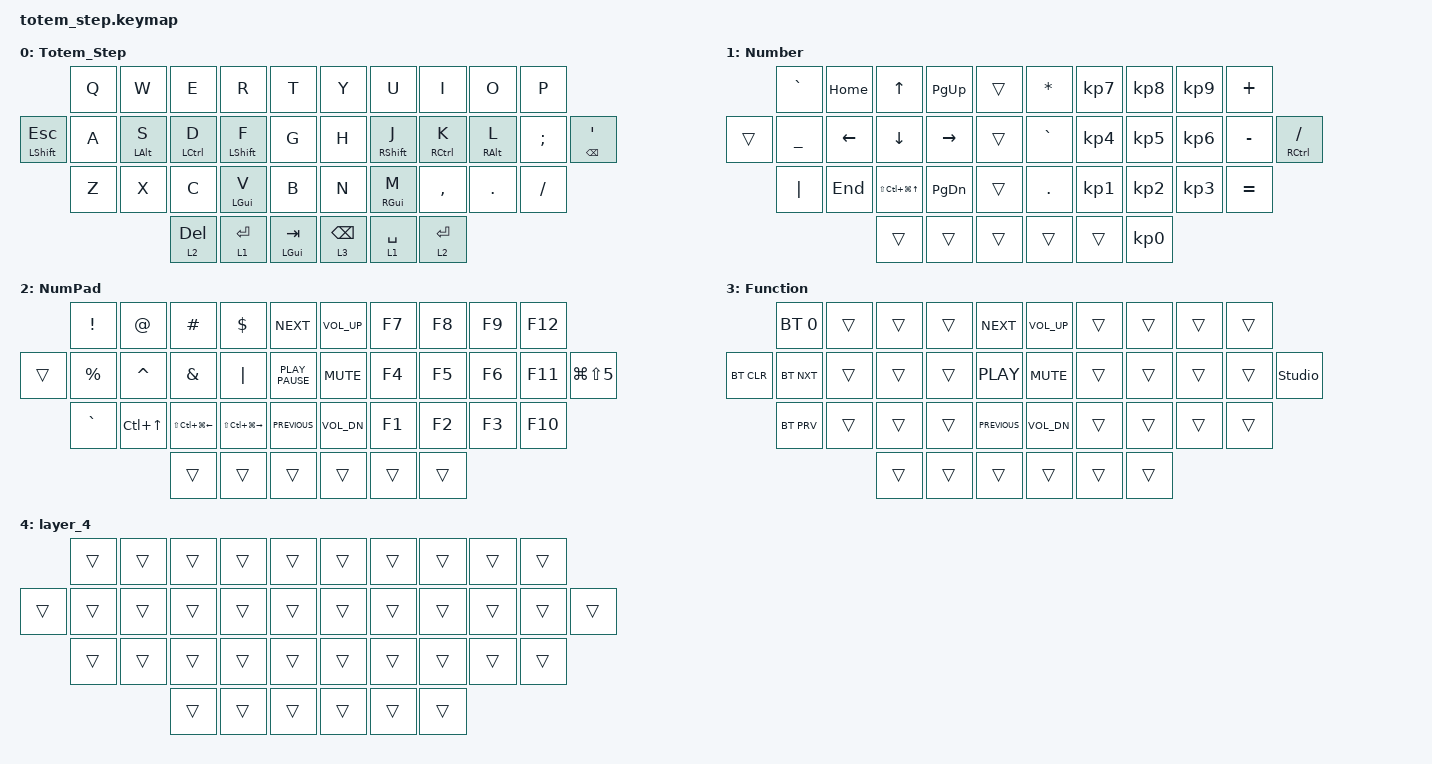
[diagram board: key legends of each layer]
#include <behaviors.dtsi>
#include <dt-bindings/zmk/bt.h>
#include <dt-bindings/zmk/keys.h>

#define NUMB 1
#define NUMP 2
#define SYMB 3
#define FUNC 4

&lt { quick-tap-ms = <200>; };

&mt { quick-tap-ms = <200>; };

/ {
    combos {
        compatible = "zmk,combos";

        Par_Left {
            bindings = <&kp LEFT_PARENTHESIS>;
            key-positions = <24 25>;
        };

        Par_Right {
            bindings = <&kp RIGHT_PARENTHESIS>;
            key-positions = <28 29>;
        };

        Brack_Left {
            bindings = <&kp LEFT_BRACKET>;
            key-positions = <3 4>;
        };

        Brack_Right {
            bindings = <&kp RIGHT_BRACKET>;
            key-positions = <5 6>;
        };

        Brace_Left {
            bindings = <&kp LEFT_BRACE>;
            key-positions = <2 3>;
        };

        Brace_Right {
            bindings = <&kp RIGHT_BRACE>;
            key-positions = <6 7>;
        };

        Cap_Lock {
            bindings = <&kp CAPS>;
            key-positions = <15 16>;
        };

        Switch_App {
            bindings = <&kp LG(TAB)>;
            key-positions = <5 6 7>;
        };

        Switch_Window {
            bindings = <&kp LG(GRAVE)>;
            key-positions = <3 1 2>;
        };
    };

    keymap {
        compatible = "zmk,keymap";

        default_layer {
            display-name = "Totem_Step";
            bindings = <
                       &kp Q  &kp W           &kp E        &kp R             &kp T           &kp Y            &kp U              &kp I        &kp O            &kp P
&mt LEFT_SHIFT ESCAPE  &kp A  &mt LEFT_ALT S  &mt LCTRL D  &mt LEFT_SHIFT F  &kp G           &kp H            &mt RIGHT_SHIFT J  &mt RCTRL K  &mt RIGHT_ALT L  &kp SEMICOLON  &mt BACKSPACE SQT
                       &kp Z  &kp X           &kp C        &mt LEFT_GUI V    &kp B           &kp N            &mt RIGHT_GUI M    &kp COMMA    &kp DOT          &kp FSLH
                                              &lt 2 DEL    &lt 1 ENTER       &mt LGUI TAB    &lt 3 BACKSPACE  &lt 1 SPACE        &lt 2 ENTER
            >;
        };

        numbers {
            display-name = "Number";
            bindings = <
        &kp GRAVE       &kp HOME  &kp UP              &kp PAGE_UP    &trans    &kp ASTERISK  &kp KP_N7        &kp KP_N8        &kp KP_NUMBER_9  &kp PLUS
&trans  &kp UNDERSCORE  &kp LEFT  &kp DOWN            &kp RIGHT      &trans    &kp GRAVE     &kp KP_NUMBER_4  &kp KP_NUMBER_5  &kp KP_NUMBER_6  &kp MINUS  &mt RCTRL SLASH
        &kp PIPE        &kp END   &kp LS(LC(LG(UP)))  &kp PAGE_DOWN  &trans    &kp PERIOD    &kp KP_NUMBER_1  &kp KP_NUMBER_2  &kp KP_NUMBER_3  &kp EQUAL
                                  &trans              &trans         &trans    &trans        &trans           &kp KP_NUMBER_0
            >;
        };

        numpad {
            display-name = "NumPad";
            bindings = <
        &kp EXCLAMATION  &kp AT_SIGN  &kp HASH              &kp DOLLAR             &kp C_NEXT          &kp C_VOL_UP  &kp F7  &kp F8  &kp F9  &kp F12
&trans  &kp PRCNT        &kp CARET    &kp AMPS              &kp PIPE               &kp K_PLAY_PAUSE    &kp C_MUTE    &kp F4  &kp F5  &kp F6  &kp F11  &kp LG(LS(N5))
        &kp GRAVE        &kp LC(UP)   &kp LS(LC(LG(LEFT)))  &kp LS(LC(LG(RIGHT)))  &kp K_PREVIOUS      &kp C_VOL_DN  &kp F1  &kp F2  &kp F3  &kp F10
                                      &trans                &trans                 &trans              &trans        &trans  &trans
            >;
        };

        function {
            display-name = "Function";
            bindings = <
            &bt BT_SEL 0  &trans  &trans  &trans  &kp C_NEXT        &kp C_VOL_UP  &trans  &trans  &trans  &trans
&bt BT_CLR  &bt BT_NXT    &trans  &trans  &trans  &kp C_PLAY        &kp C_MUTE    &trans  &trans  &trans  &trans  &studio_unlock
            &bt BT_PRV    &trans  &trans  &trans  &kp C_PREVIOUS    &kp C_VOL_DN  &trans  &trans  &trans  &trans
                                  &trans  &trans  &trans            &trans        &trans  &trans
            >;
        };

        layer_4 {
            bindings = <
        &trans  &trans  &trans  &trans  &trans    &trans  &trans  &trans  &trans  &trans
&trans  &trans  &trans  &trans  &trans  &trans    &trans  &trans  &trans  &trans  &trans  &trans
        &trans  &trans  &trans  &trans  &trans    &trans  &trans  &trans  &trans  &trans
                        &trans  &trans  &trans    &trans  &trans  &trans
            >;
        };
    };
};
